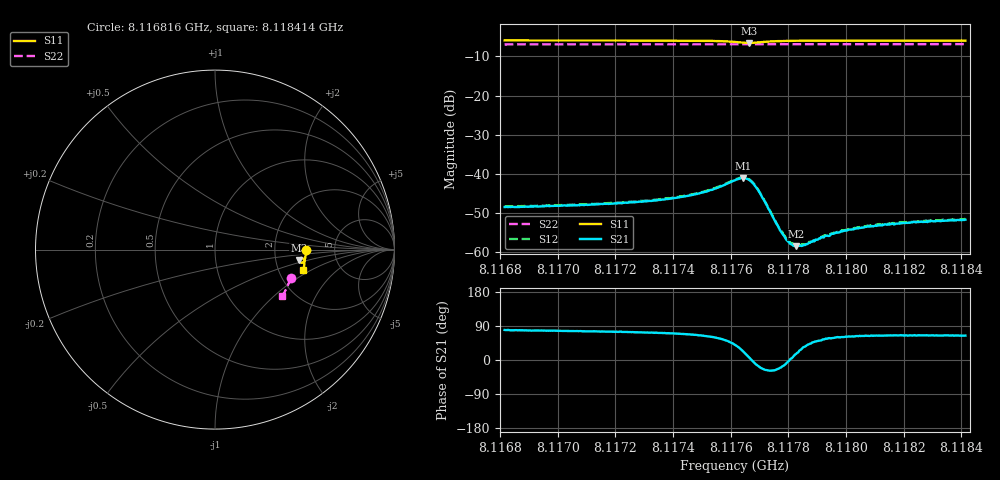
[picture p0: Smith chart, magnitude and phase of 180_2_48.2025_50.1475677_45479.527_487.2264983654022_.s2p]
#  HZ  S  RI  R  50.00
! Rohde & Schwarz Vector Network Analyzer
! Rohde-Schwarz,ZNB20-2Port,1311601062101988,3.16
! Created: UTC 3/20/2024, 11:44:05 AM
! freq[Hz]  re:S11  im:S11  re:S21  im:S21  re:S12  im:S12  re:S22  im:S22
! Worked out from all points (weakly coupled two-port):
!   401 points, 8.116816 GHz to 8.118414 GHz, reference 50 ohm
!   highest |S21| = -41.16 dB at 8.117643 GHz (marker M1); lowest = -58.6 dB at 8.117827 GHz (marker M2)
!   lowest |S11| = -6.5 dB at 8.117663 GHz (marker M3), VSWR 2.78, Z = 135 - j20.5 ohm
!   |S11| at or under -10 dB: nowhere
!   |S22| runs from -6.9 to -6.8 dB; largest |S21 - S12| = 0.00022
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8.1168158e9  0.5064 -0.00298  0.000694 0.00367  0.000783 0.00375  0.422 -0.1571
8.1170835e9  0.5054 -0.0239  0.000965 0.00387  0.00105 0.00391  0.4159 -0.1748
8.1173513e9  0.5025 -0.0464  0.00147 0.00437  0.00153 0.00442  0.409 -0.1922
8.1174432e9  0.5003 -0.0553  0.0019 0.00476  0.00196 0.00487  0.4064 -0.1982
8.1175071e9  0.4973 -0.0625  0.00253 0.00522  0.00263 0.00527  0.4045 -0.2024
8.1175511e9  0.4933 -0.068  0.00339 0.00558  0.00355 0.00565  0.403 -0.2051
8.117615e9  0.4793 -0.0735  0.00631 0.00529  0.00647 0.0053  0.4005 -0.209
8.117643e9  0.4698 -0.0682  0.00805 0.00343  0.00825 0.00341  0.3994 -0.2103
8.1176629e9  0.4668 -0.059  0.00829 0.00111  0.00845 0.00102  0.3989 -0.2111
8.1176789e9  0.4697 -0.0515  0.0074 -0.000674  0.00752 -0.000741  0.3986 -0.2118
8.1176949e9  0.4756 -0.047  0.00595 -0.00168  0.006 -0.00177  0.3983 -0.2127
8.1177628e9  0.4937 -0.0529  0.002 -0.00088  0.00198 -0.000909  0.3971 -0.217
8.1177868e9  0.4959 -0.0569  0.00153 -0.000359  0.00155 -0.000399  0.3966 -0.2187
8.1178108e9  0.4972 -0.0605  0.00124 8.77e-05  0.00126 7.7e-05  0.3958 -0.2204
8.1178268e9  0.498 -0.0626  0.00113 0.000326  0.00116 0.000362  0.3953 -0.2213
8.1178587e9  0.4983 -0.0667  0.000992 0.000717  0.001 0.00075  0.3943 -0.2236
8.1178827e9  0.4986 -0.0695  0.000937 0.000971  0.000985 0.00094  0.3935 -0.225
8.1179307e9  0.4984 -0.0745  0.00089 0.00134  0.00095 0.00131  0.3919 -0.2281
8.1179906e9  0.498 -0.0801  0.000909 0.0016  0.000902 0.00163  0.39 -0.2318
8.1180585e9  0.4974 -0.0863  0.000903 0.00182  0.000928 0.00189  0.3878 -0.236
8.1181504e9  0.496 -0.0939  0.000949 0.00202  0.000999 0.00209  0.3846 -0.2416
8.1184141e9  0.4917 -0.1144  0.00111 0.00233  0.00118 0.00237  0.375 -0.2576
